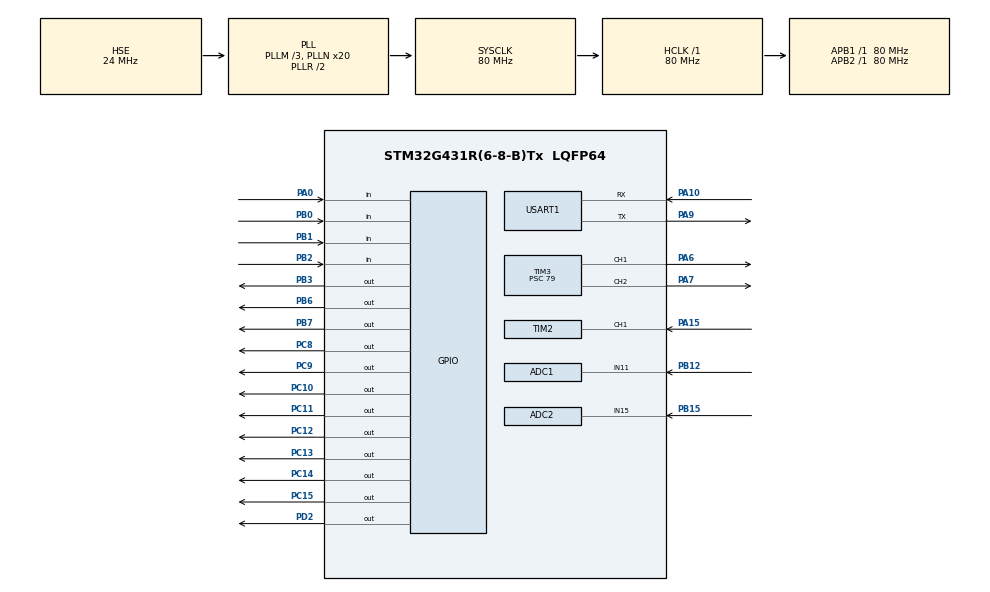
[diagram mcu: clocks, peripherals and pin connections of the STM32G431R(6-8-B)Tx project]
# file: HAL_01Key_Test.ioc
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ADC1.Channel-0\#ChannelRegularConversion=ADC_CHANNEL_11
ADC1.NbrOfConversionFlag=1
ADC1.OffsetNumber-0\#ChannelRegularConversion=ADC_OFFSET_NONE
ADC1.Rank-0\#ChannelRegularConversion=1
ADC1.SamplingTime-0\#ChannelRegularConversion=ADC_SAMPLETIME_640CYCLES_5
ADC1.master=1
ADC2.Channel-0\#ChannelRegularConversion=ADC_CHANNEL_15
ADC2.NbrOfConversionFlag=1
ADC2.OffsetNumber-0\#ChannelRegularConversion=ADC_OFFSET_NONE
ADC2.Rank-0\#ChannelRegularConversion=1
ADC2.SamplingTime-0\#ChannelRegularConversion=ADC_SAMPLETIME_640CYCLES_5
Dma.Request0=USART1_RX
Dma.Request1=USART1_TX
Dma.USART1_RX.0.Direction=DMA_PERIPH_TO_MEMORY
Dma.USART1_RX.0.EventEnable=DISABLE
Dma.USART1_RX.0.Instance=DMA1_Channel1
Dma.USART1_RX.0.MemDataAlignment=DMA_MDATAALIGN_BYTE
Dma.USART1_RX.0.MemInc=DMA_MINC_ENABLE
Dma.USART1_RX.0.Mode=DMA_NORMAL
Dma.USART1_RX.0.PeriphDataAlignment=DMA_PDATAALIGN_BYTE
Dma.USART1_RX.0.PeriphInc=DMA_PINC_DISABLE
Dma.USART1_RX.0.Polarity=HAL_DMAMUX_REQ_GEN_RISING
Dma.USART1_RX.0.Priority=DMA_PRIORITY_LOW
Dma.USART1_RX.0.RequestNumber=1
Dma.USART1_RX.0.SignalID=NONE
Dma.USART1_RX.0.SyncEnable=DISABLE
Dma.USART1_RX.0.SyncPolarity=HAL_DMAMUX_SYNC_NO_EVENT
Dma.USART1_RX.0.SyncRequestNumber=1
Dma.USART1_RX.0.SyncSignalID=NONE
Dma.USART1_TX.1.Direction=DMA_MEMORY_TO_PERIPH
Dma.USART1_TX.1.EventEnable=DISABLE
Dma.USART1_TX.1.Instance=DMA1_Channel2
Dma.USART1_TX.1.MemDataAlignment=DMA_MDATAALIGN_BYTE
Dma.USART1_TX.1.MemInc=DMA_MINC_ENABLE
Dma.USART1_TX.1.Mode=DMA_NORMAL
Dma.USART1_TX.1.PeriphDataAlignment=DMA_PDATAALIGN_BYTE
Dma.USART1_TX.1.PeriphInc=DMA_PINC_DISABLE
Dma.USART1_TX.1.Polarity=HAL_DMAMUX_REQ_GEN_RISING
Dma.USART1_TX.1.Priority=DMA_PRIORITY_LOW
Dma.USART1_TX.1.RequestNumber=1
Dma.USART1_TX.1.SignalID=NONE
Dma.USART1_TX.1.SyncEnable=DISABLE
Dma.USART1_TX.1.SyncPolarity=HAL_DMAMUX_SYNC_NO_EVENT
Dma.USART1_TX.1.SyncRequestNumber=1
Dma.USART1_TX.1.SyncSignalID=NONE
Mcu.Family=STM32G4
Mcu.Name=STM32G431R(6-8-B)Tx
Mcu.Package=LQFP64
NVIC.DMA1_Channel1_IRQn=true\:0\:0\:false\:false\:true\:false\:true
NVIC.DMA1_Channel2_IRQn=true\:0\:0\:false\:false\:true\:false\:true
NVIC.PriorityGroup=NVIC_PRIORITYGROUP_4
NVIC.RCC_IRQn=true\:0\:0\:false\:false\:true\:true\:false
NVIC.TIM2_IRQn=true\:0\:0\:false\:false\:true\:true\:true
NVIC.TIM6_DAC_IRQn=true\:0\:0\:false\:false\:true\:true\:true
NVIC.USART1_IRQn=true\:0\:0\:false\:false\:true\:true\:true
PA0.Signal=GPIO_Input
PA10.Mode=Asynchronous
PA10.Signal=USART1_RX
PA15.Signal=S_TIM2_CH1
PA6.Signal=S_TIM3_CH1
PA7.Signal=S_TIM3_CH2
PA9.Mode=Asynchronous
PA9.Signal=USART1_TX
PB0.Signal=GPIO_Input
PB1.Signal=GPIO_Input
PB12.Mode=IN11-Single-Ended
PB12.Signal=ADC1_IN11
PB15.Mode=IN15-Single-Ended
PB15.Signal=ADC2_IN15
PB2.Signal=GPIO_Input
PB3.PinState=GPIO_PIN_SET
PB3.Signal=GPIO_Output
PB6.Signal=GPIO_Output
PB7.Signal=GPIO_Output
PC10.PinState=GPIO_PIN_SET
PC10.Signal=GPIO_Output
PC11.PinState=GPIO_PIN_SET
PC11.Signal=GPIO_Output
PC12.PinState=GPIO_PIN_SET
PC12.Signal=GPIO_Output
PC13.PinState=GPIO_PIN_SET
PC13.Signal=GPIO_Output
PC14-OSC32_IN.PinState=GPIO_PIN_SET
PC14-OSC32_IN.Signal=GPIO_Output
PC15-OSC32_OUT.PinState=GPIO_PIN_SET
PC15-OSC32_OUT.Signal=GPIO_Output
PC8.PinState=GPIO_PIN_SET
PC8.Signal=GPIO_Output
PC9.PinState=GPIO_PIN_SET
PC9.Signal=GPIO_Output
PD2.Signal=GPIO_Output
PF0-OSC_IN.Mode=HSE-External-Oscillator
PF0-OSC_IN.Signal=RCC_OSC_IN
PF1-OSC_OUT.Mode=HSE-External-Oscillator
PF1-OSC_OUT.Signal=RCC_OSC_OUT
ProjectManager.HeapSize=0x200
ProjectManager.StackSize=0x400
ProjectManager.TargetToolchain=MDK-ARM V5.27
RCC.ADC12Freq_Value=80000000
RCC.AHBFreq_Value=80000000
RCC.APB1Freq_Value=80000000
RCC.APB1TimFreq_Value=80000000
RCC.APB2Freq_Value=80000000
RCC.APB2TimFreq_Value=80000000
RCC.CortexFreq_Value=80000000
RCC.EXTERNAL_CLOCK_VALUE=12288000
RCC.HCLKFreq_Value=80000000
RCC.HSE_VALUE=24000000
RCC.HSI48_VALUE=48000000
RCC.HSI_VALUE=16000000
RCC.LSE_VALUE=32768
RCC.PLLM=RCC_PLLM_DIV3
RCC.PLLN=20
RCC.PLLSourceVirtual=RCC_PLLSOURCE_HSE
RCC.SYSCLKFreq_VALUE=80000000
RCC.SYSCLKSource=RCC_SYSCLKSOURCE_PLLCLK
RCC.USBFreq_Value=80000000
RCC.VCOOutputFreq_Value=160000000
RTC.Hours=23
RTC.Minutes=59
RTC.Seconds=30
RTC.Year=22
SH.S_TIM2_CH1.0=TIM2_CH1,PWM_Input_1
SH.S_TIM3_CH1.0=TIM3_CH1,PWM Generation1 CH1
SH.S_TIM3_CH2.0=TIM3_CH2,PWM Generation2 CH2
TIM2.AutoReloadPreload=TIM_AUTORELOAD_PRELOAD_ENABLE
TIM2.PeriodNoDither=65535
TIM2.Prescaler=79
TIM3.AutoReloadPreload=TIM_AUTORELOAD_PRELOAD_ENABLE
TIM3.Channel-PWM\ Generation1\ CH1=TIM_CHANNEL_1
TIM3.Channel-PWM\ Generation2\ CH2=TIM_CHANNEL_2
TIM3.PeriodNoDither=999
TIM3.Prescaler=79
TIM3.PulseNoDither_1=500
TIM3.PulseNoDither_2=500
TIM6.AutoReloadPreload=TIM_AUTORELOAD_PRELOAD_ENABLE
TIM6.PeriodNoDither=1999
TIM6.Prescaler=79
USART1.VirtualMode-Asynchronous=VM_ASYNC
VP_RTC_VS_RTC_Activate.Mode=RTC_Enabled
VP_RTC_VS_RTC_Calendar.Mode=RTC_Calendar
VP_SYS_VS_DBSignals.Mode=DisableDeadBatterySignals
VP_TIM2_VS_ClockSourceINT.Mode=Internal
VP_TIM3_VS_ClockSourceINT.Mode=Internal
VP_TIM6_VS_ClockSourceINT.Mode=Enable_Timer
board=custom

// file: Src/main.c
/* USER CODE BEGIN Header */
/**
  ******************************************************************************
  * @file           : main.c
  * @brief          : Main program body
  ******************************************************************************
  * @attention
  *
  * <h2><center>&copy; Copyright (c) 2024 STMicroelectronics.
  * All rights reserved.</center></h2>
  *
  * This software component is licensed by ST under BSD 3-Clause license,
  * the "License"; You may not use this file except in compliance with the
  * License. You may obtain a copy of the License at:
  *                        opensource.org/licenses/BSD-3-Clause
  *
  ******************************************************************************
  */
/* USER CODE END Header */

#include "main.h"
#include "adc.h"
#include "dma.h"
#include "rtc.h"
#include "tim.h"
#include "usart.h"
#include "gpio.h"

/* USER CODE BEGIN Includes */
#include "lcd_hal.h"
#include <stdio.h>
#include <string.h>
#include "i2c_hal.h"
/* USER CODE END Includes */

/* USER CODE BEGIN PTD */
typedef enum
{
	Key_Check,
	Key_Press,
	Key_Release,
	Key_Over
}Key_State;

extern DMA_HandleTypeDef hdma_usart1_rx;
extern DMA_HandleTypeDef hdma_usart1_tx;
/* USER CODE END PTD */

/* USER CODE BEGIN PD */
#define B1  HAL_GPIO_ReadPin(GPIOB, GPIO_PIN_0)
#define B2  HAL_GPIO_ReadPin(GPIOB, GPIO_PIN_1)
#define B3  HAL_GPIO_ReadPin(GPIOB, GPIO_PIN_2)
#define B4  HAL_GPIO_ReadPin(GPIOA, GPIO_PIN_0)
/* USER CODE END PD */

/* USER CODE BEGIN PV */

Key_State KeyState = Key_Check;
uint8_t KeyNum, Num;
uint32_t Key_Press_Time = 20;
uint8_t Str[20], RX[20];
//uint8_t Key3_Show[20] = "KEY3_SHOW";
uint16_t TIM_Time;
uint8_t cc2_Value;
uint8_t Freq_Value_R40, Duty_Value_R40;
uint8_t Freq_R40, Duty_R40;
uint8_t RecCount;

uint8_t ShowTime[10] = "HH:MM:SS";
uint8_t ShowDate[10] = "YYYY:MM:DD";
/* USER CODE END PV */

void SystemClock_Config(void);
/* USER CODE BEGIN PFP */
void Key_Scan(void);
void LED_Close(void);
/* USER CODE END PFP */

/* USER CODE BEGIN 0 */
void HAL_TIM_PeriodElapsedCallback(TIM_HandleTypeDef *htim)//定时器6回调函数
{
	if(++TIM_Time == 500)
	{
		TIM_Time = 0;
		HAL_GPIO_TogglePin(GPIOC, GPIO_PIN_15);
		HAL_GPIO_WritePin(GPIOD, GPIO_PIN_2, GPIO_PIN_SET);
		HAL_GPIO_WritePin(GPIOD, GPIO_PIN_2, GPIO_PIN_RESET);
	}
}

//！！！！！！！！！！！！！！！！！！！！！！！！！！！！！！！！！！！！！！！！
void HAL_TIM_IC_CaptureCallback(TIM_HandleTypeDef * htim)//定时器2输入捕获回调函数
{
//	if(htim -> Instance  == TIM2)//先分后不分
//	{
//		cc2_Value = __HAL_TIM_GET_COUNTER(&htim2);
//		__HAL_TIM_SetCounter(&htim2,0);
//		f40 = 1000000 / cc2_Value;
//		HAL_TIM_IC_Start_IT(&htim2, TIM_CHANNEL_1);
//	}

	if(htim -> Instance  == TIM2)
	{
		if(htim ->Channel == HAL_TIM_ACTIVE_CHANNEL_1)//频率
		{
			Freq_Value_R40 = HAL_TIM_ReadCapturedValue(&htim2, TIM_CHANNEL_1);
			Freq_R40 = 1000000 / Freq_Value_R40;
		}
		else if(htim ->Channel == HAL_TIM_ACTIVE_CHANNEL_2)//占空比
		{
			Duty_Value_R40 = HAL_TIM_ReadCapturedValue(&htim2, TIM_CHANNEL_2);
			Duty_R40 = Duty_Value_R40 * 100 / Freq_Value_R40;
		}
	}
}

void HAL_UART_IdleCpltCallback(UART_HandleTypeDef * huart)
{
	RecCount = 10 - __HAL_DMA_GET_COUNTER(&hdma_usart1_rx);//重点记忆
	HAL_UART_Transmit_DMA(&huart1, RX, RecCount);
	RecCount = 0;
	LCD_DisplayStringLine(Line2, RX);
	HAL_UART_Receive_DMA(&huart1, RX, 10);
}

uint16_t getADC_R37(void)
{
	uint16_t adc;

	HAL_ADC_Start(&hadc2);
	HAL_ADC_PollForConversion(&hadc2, 10);
	adc = HAL_ADC_GetValue(&hadc2);
	HAL_ADC_Stop(&hadc2);

	return adc;
}

void RTC_Show(uint8_t * ShowTime, uint8_t * ShowDate)
{
	RTC_TimeTypeDef sTimeStructure;
	RTC_DateTypeDef sDateStructure;

	HAL_RTC_GetTime(&hrtc, &sTimeStructure, RTC_FORMAT_BIN);
	HAL_RTC_GetDate(&hrtc, &sDateStructure, RTC_FORMAT_BIN);

	sprintf((char *)ShowTime, "%2d:%2d:%2d", sTimeStructure.Hours, sTimeStructure.Minutes, sTimeStructure.Seconds);
    LCD_DisplayStringLine(Line4, ShowTime);

	sprintf((char *)ShowDate, "%2d-%2d-%2d", 2000 + sDateStructure.Year, sDateStructure.Month, sDateStructure.Date);
    LCD_DisplayStringLine(Line5, ShowDate);
}
void RTC_SetTime(uint8_t HH, uint8_t MM, uint8_t SS)
{
	RTC_TimeTypeDef sTime = {0};
	sTime.Hours = HH;
	sTime.Minutes = MM;
	sTime.Seconds = SS;
	HAL_RTC_SetTime(&hrtc, &sTime, RTC_FORMAT_BIN);
}
void RTC_SetDate(uint8_t YY, uint8_t MM, uint8_t DD)
{
	RTC_DateTypeDef sDate = {0};
	sDate.Year = YY;
	sDate.Month = MM;
	sDate.Date = DD;
	HAL_RTC_SetDate(&hrtc, &sDate, RTC_FORMAT_BIN);
}
/* USER CODE END 0 */

int main(void)
{

  /* MCU Configuration--------------------------------------------------------*/

  /* Reset of all peripherals, Initializes the Flash interface and the Systick. */
  HAL_Init();

  /* Configure the system clock */
  SystemClock_Config();

  /* Initialize all configured peripherals */
  MX_GPIO_Init();
  MX_DMA_Init();
  MX_TIM6_Init();
  MX_TIM3_Init();
  MX_TIM2_Init();
  MX_USART1_UART_Init();
  MX_ADC1_Init();
  MX_ADC2_Init();
  MX_RTC_Init();
  /* USER CODE BEGIN 2 */
  LED_Close();

  //LCD初始化
  LCD_Init();
  LCD_Clear(Black);
  LCD_SetBackColor(Black);
  LCD_SetTextColor(White);
//  for(uint8_t i = 0; i < 9; i++)
//  {
//	  LCD_DisplayChar(1*24, 320-(16*i)-160, Key3_Show[i]);
//  }
  LCD_DisplayStringLine(Line1, (uint8_t *)"           KEY3_SHOW");
  LCD_DisplayStringLine(Line2, (uint8_t *)"           UART_SHOW");

  //定时器6启动
  HAL_TIM_Base_Start_IT(&htim6);
  __HAL_TIM_CLEAR_IT(&htim6, TIM_FLAG_UPDATE);

  //PWM配置
  HAL_TIM_PWM_Start_IT(&htim3, TIM_CHANNEL_1);
  HAL_TIM_PWM_Start_IT(&htim3, TIM_CHANNEL_2);
  __HAL_TIM_CLEAR_IT(&htim3, TIM_CHANNEL_1);
  __HAL_TIM_CLEAR_IT(&htim3, TIM_CHANNEL_2);

  __HAL_TIM_SetCompare(&htim3, TIM_CHANNEL_1, 500);//设置占空比
  __HAL_TIM_SetCompare(&htim3, TIM_CHANNEL_2, 700);

  //IC配置
  HAL_TIM_IC_Start_IT(&htim2, TIM_CHANNEL_1);
  HAL_TIM_IC_Start_IT(&htim2, TIM_CHANNEL_2);

  //串口
  HAL_UART_Receive_DMA(&huart1, RX, 10);
  __HAL_UART_ENABLE_IT(&huart1, UART_IT_IDLE);

  //I2C_EEPROM
//  x24C02_Write(0x02, 0);
	Num = x24C02_Read(0x02);//每复位/上电一次，数字加一
	x24C02_Write(0x02, ++Num);
//  错误：1、配置PB6、PB7  2、对存储器写入数据应在while外面  3、按压时间清零，写在while里面，if键值判断最后
	sprintf((char *)Str, "EEPROM:%d  ", Num);
	LCD_DisplayStringLine(Line0, (uint8_t *)Str);

  //RTC初始化
  RTC_SetDate(24, 3, 21);
  RTC_SetTime(18, 37, 50);

  /* USER CODE END 2 */

  /* Infinite loop */
  /* USER CODE BEGIN WHILE */
  while (1)
  {
	  if(KeyState == Key_Over)
	  {
		  KeyState = Key_Check;
		  if(KeyNum == 1 && Key_Press_Time <= 1000)
		  {
			  HAL_GPIO_TogglePin(GPIOC, GPIO_PIN_8);
     		  HAL_GPIO_WritePin(GPIOC, GPIO_PIN_9 | GPIO_PIN_10 | GPIO_PIN_11 |
			  GPIO_PIN_12 | GPIO_PIN_13 | GPIO_PIN_14 | GPIO_PIN_15, GPIO_PIN_SET);
			  HAL_GPIO_WritePin(GPIOD, GPIO_PIN_2, GPIO_PIN_SET);
			  HAL_GPIO_WritePin(GPIOD, GPIO_PIN_2, GPIO_PIN_RESET);
		  }
		  if(KeyNum == 2 && Key_Press_Time >= 1200)
		  {
			  HAL_GPIO_TogglePin(GPIOB, GPIO_PIN_3);
			  HAL_Delay(300);
			  HAL_GPIO_TogglePin(GPIOB, GPIO_PIN_3);
		  }
		  if(KeyNum == 3)
		  {
			  LCD_DisplayStringLine(Line1, (uint8_t *)"1234567890");
		  }
		  Key_Press_Time = 0;//清零位置很重要，决定按压时间检测
	  }

//	sprintf((char *)Str, "  Freq(R40):%dHz", Freq_R40);
//	LCD_DisplayStringLine(Line8, (uint8_t *)Str);
//	sprintf((char *)Str, "  Duty(R40):%d%%", Duty_R40);
//	LCD_DisplayStringLine(Line9, (uint8_t *)Str);
//	HAL_Delay(200);	//防止刷新过快

	  //错误：LCD和LED只能同时使用一个，该句使LCD一直使用，导致LED相关功能失效
      sprintf((char *)Str, "ADC(R37):%.2fV", getADC_R37() * 3.3f / 4096 );
	  LCD_DisplayStringLine(Line3, (uint8_t *)Str);

	  RTC_Show(ShowTime, ShowDate);
    /* USER CODE END WHILE */

  }
}

void SystemClock_Config(void)
{
  RCC_OscInitTypeDef RCC_OscInitStruct = {0};
  RCC_ClkInitTypeDef RCC_ClkInitStruct = {0};
  RCC_PeriphCLKInitTypeDef PeriphClkInit = {0};

  /** Configure the main internal regulator output voltage
  */
  HAL_PWREx_ControlVoltageScaling(PWR_REGULATOR_VOLTAGE_SCALE1);
  /** Initializes the CPU, AHB and APB busses clocks
  */
  RCC_OscInitStruct.OscillatorType = RCC_OSCILLATORTYPE_LSI|RCC_OSCILLATORTYPE_HSE;
  RCC_OscInitStruct.HSEState = RCC_HSE_ON;
  RCC_OscInitStruct.LSIState = RCC_LSI_ON;
  RCC_OscInitStruct.PLL.PLLState = RCC_PLL_ON;
  RCC_OscInitStruct.PLL.PLLSource = RCC_PLLSOURCE_HSE;
  RCC_OscInitStruct.PLL.PLLM = RCC_PLLM_DIV3;
  RCC_OscInitStruct.PLL.PLLN = 20;
  RCC_OscInitStruct.PLL.PLLP = RCC_PLLP_DIV2;
  RCC_OscInitStruct.PLL.PLLQ = RCC_PLLQ_DIV2;
  RCC_OscInitStruct.PLL.PLLR = RCC_PLLR_DIV2;
  if (HAL_RCC_OscConfig(&RCC_OscInitStruct) != HAL_OK)
  {
    Error_Handler();
  }
  /** Initializes the CPU, AHB and APB busses clocks
  */
  RCC_ClkInitStruct.ClockType = RCC_CLOCKTYPE_HCLK|RCC_CLOCKTYPE_SYSCLK
                              |RCC_CLOCKTYPE_PCLK1|RCC_CLOCKTYPE_PCLK2;
  RCC_ClkInitStruct.SYSCLKSource = RCC_SYSCLKSOURCE_PLLCLK;
  RCC_ClkInitStruct.AHBCLKDivider = RCC_SYSCLK_DIV1;
  RCC_ClkInitStruct.APB1CLKDivider = RCC_HCLK_DIV1;
  RCC_ClkInitStruct.APB2CLKDivider = RCC_HCLK_DIV1;

  if (HAL_RCC_ClockConfig(&RCC_ClkInitStruct, FLASH_LATENCY_3) != HAL_OK)
  {
    Error_Handler();
  }
  /** Initializes the peripherals clocks
  */
  PeriphClkInit.PeriphClockSelection = RCC_PERIPHCLK_RTC|RCC_PERIPHCLK_USART1
                              |RCC_PERIPHCLK_ADC12;
  PeriphClkInit.Usart1ClockSelection = RCC_USART1CLKSOURCE_PCLK2;
  PeriphClkInit.Adc12ClockSelection = RCC_ADC12CLKSOURCE_SYSCLK;
  PeriphClkInit.RTCClockSelection = RCC_RTCCLKSOURCE_LSI;

  if (HAL_RCCEx_PeriphCLKConfig(&PeriphClkInit) != HAL_OK)
  {
    Error_Handler();
  }
}

/* USER CODE BEGIN 4 */
void Key_Scan(void)
{
	switch(KeyState)
	{
		case Key_Check:
		{
			if(B1 == GPIO_PIN_RESET || B2 == GPIO_PIN_RESET || B3 == GPIO_PIN_RESET || B4 == GPIO_PIN_RESET)
			{
					KeyState = Key_Press;
			}
		}
		break;
		case Key_Press:
		{
			if(B1 == GPIO_PIN_RESET){KeyNum = 1;}
			if(B2 == GPIO_PIN_RESET){KeyNum = 2;}
			if(B3 == GPIO_PIN_RESET){KeyNum = 3;}
			if(B4 == GPIO_PIN_RESET){KeyNum = 4;}
			KeyState = Key_Release;
		}
		break;
		case Key_Release:
		{
			if(B1 == GPIO_PIN_RESET || B2 == GPIO_PIN_RESET || B3 == GPIO_PIN_RESET || B4 == GPIO_PIN_RESET)
			{
				Key_Press_Time += 10;
			}
			else
			{
				KeyState = Key_Over;
			}
		}
		break;
		default:{break;}
	}
}

void LED_Close(void)
{
	HAL_GPIO_WritePin(GPIOC, GPIO_PIN_8 | GPIO_PIN_9 | GPIO_PIN_10 | GPIO_PIN_11 |
					  GPIO_PIN_12 | GPIO_PIN_13 | GPIO_PIN_14 | GPIO_PIN_15, GPIO_PIN_SET);
	HAL_GPIO_WritePin(GPIOD, GPIO_PIN_2, GPIO_PIN_SET);
	HAL_GPIO_WritePin(GPIOD, GPIO_PIN_2, GPIO_PIN_RESET);
}
/* USER CODE END 4 */

void Error_Handler(void)
{
}

/************************ (C) COPYRIGHT STMicroelectronics *****END OF FILE****/
